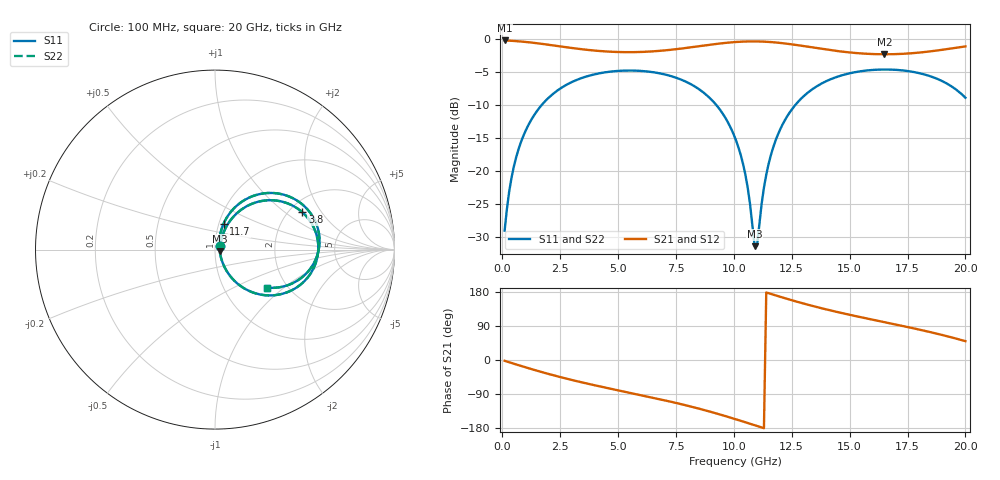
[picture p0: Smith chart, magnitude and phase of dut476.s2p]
! Touchstone file exported from HFSS 2026.1.0
!  File:  C:/ffzhzh/LocalFiles/Ansys_Project_Files/temp_train_TSV_RDL_476_1783103587_46604.aedt
!  Generated:  02:48:42 AM Jul  4, 2026
!  Design:  TSV_RDL
!  Project:  temp_train_TSV_RDL_476_1783103587_46604
! Variables:
!  h_bsmrdl = 4.97um
!  h_ox = 20um
!  h_rdl = 5um
!  h_sub = 98.46um
!  h_tmrdl = 2.66um
!  h_tsv = 98.46um
!  h_via = 3um
!  l_bsmrdl = 200.49um
!  l_sub = 5093.92um
!  l_tmrdl = 987.75um
!  m_sub = 200um
!  pitch = 57.89um
!  r_tsv = 10.53um
!  s_tmrdl = 10um
!  w_bsmrdl = 26.85um
!  w_sub = 500um
!  w_tmrdl = 20.3um
!  x_tsv_center1 = 997.9um
!  x_tsv_center2 = 1225.24um
!  x_tsv_center3 = 2233.29um
!  x_tsv_center4 = 2460.63um
!  x_tsv_center5 = 3468.68um
!  x_tsv_center6 = 3696.02um
# GHz S MA R 50.000000
! Terminal data exported
! Port[1] = TM_RDL1_1_T1
! Port[2] = TM_RDL5_1_T1
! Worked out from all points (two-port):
!   200 points, 100 MHz to 20 GHz, reference 50 ohm
!   highest |S21| = -0.25 dB at 100 MHz (marker M1); lowest = -2.3 dB at 16.5 GHz (marker M2)
!   |S21| within 3 dB of the highest: start of sweep to end of sweep
!   lowest |S11| = -31.3 dB at 10.9 GHz (marker M3), VSWR 1.06, Z = 52.7 - j0.753 ohm
!   |S11| at or under -10 dB: start of sweep to 1.704 GHz; 9.239 GHz to 12.66 GHz (3.418 GHz wide, 31.2 % of centre)
!   |S22| runs from -31.4 to -4.6 dB; largest |S21 - S12| = 1.6e-14
!   S11 on the Smith chart (normalised r, x): 100 MHz: 1.06, +0.04; 3.8 GHz: 2.34, +1.36; 11.7 GHz: 1.05, +0.31; 20 GHz: 1.59, -0.77
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0.1  0.0355 35.8  0.9717 -2.0  0.9717 -2.0  0.0355 35.8
! Gamma 0 0 0 0
! Port Impedance 50 0 50 0
0.5  0.1084 63.4  0.9634 -9.9  0.9634 -9.9  0.1084 63.4
1.1  0.2182 60.2  0.9433 -21.1  0.9433 -21.1  0.2182 60.2
2.1  0.3718 46.6  0.8966 -38.5  0.8966 -38.5  0.3718 46.6
3.5  0.5103 27.1  0.8315 -59.9  0.8315 -59.9  0.5102 27.1
3.8  0.5291 23.2  0.8207 -64.1  0.8207 -64.1  0.5291 23.2
5.3  0.5752 4.4  0.7927 -83.9  0.7927 -83.9  0.5752 4.4
6.8  0.5481 -14.3  0.811 -103.5  0.811 -103.5  0.5481 -14.3
8.8  0.3785 -42.2  0.8937 -133.4  0.8937 -133.4  0.3785 -42.2
10.1  0.1696 -60.1  0.9464 -156.7  0.9464 -156.7  0.1695 -60.2
10.6  0.07471 -58.3  0.9553 -166.3  0.9553 -166.3  0.07459 -58.6
10.9  0.02708 -15.3  0.9562 -172.1  0.9562 -172.1  0.0268 -15.5
11  0.02719 26.6  0.9557 -174.0  0.9557 -174.0  0.02692 26.8
11.3  0.075 69.1  0.952 -179.9  0.952 -179.9  0.0749 69.3
11.7  0.1511 71.6  0.9419 172.5  0.9419 172.5  0.1511 71.7
12.4  0.2756 63.4  0.9131 159.5  0.9131 159.5  0.2755 63.5
13.4  0.417 48.8  0.8603 142.6  0.8603 142.6  0.4169 48.8
15  0.5487 27.2  0.7889 119.3  0.7889 119.3  0.5486 27.2
16.5  0.5861 8.9  0.7639 99.9  0.7639 99.9  0.586 8.9
16.7  0.5857 6.5  0.7642 97.4  0.7642 97.4  0.5856 6.5
18.3  0.5335 -13.1  0.7967 76.2  0.7967 76.2  0.5334 -13.1
20  0.3587 -36.2  0.8759 49.7  0.8759 49.7  0.3586 -36.3
